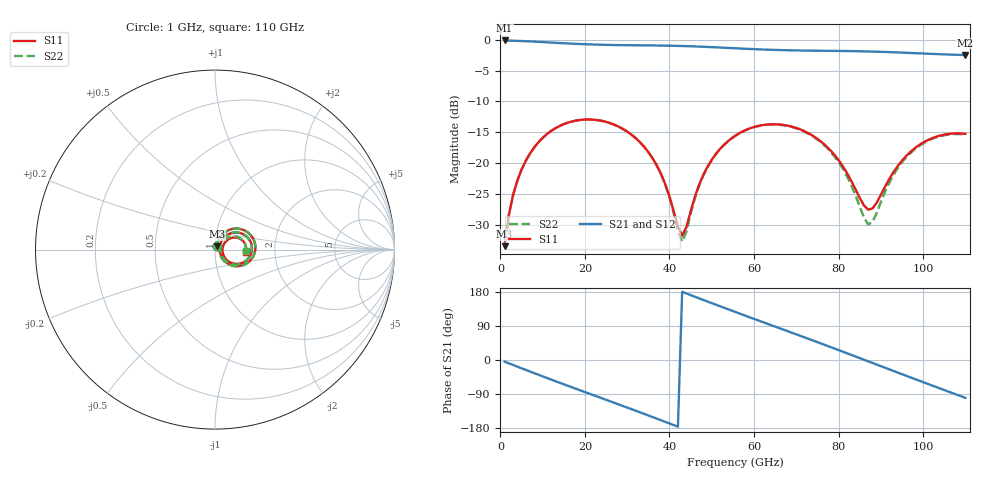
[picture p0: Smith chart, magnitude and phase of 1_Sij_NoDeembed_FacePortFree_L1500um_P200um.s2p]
! Touchstone file exported from HFSS 2024.2.0
!  File:  C:/Users/vaintrug/Documents/Ansoft_Workspace/Comparaison_Calculs_HFSS/1_VarPort.aedt
!  Generated:  03:22:16 PM Jan 21, 2025
!  Design:  1_NoDeembed_FacePortFree
!  Project:  1_VarPort
!  Setup:  Setup1
!  Solution:  Sweep
! Variables:
!  $Lenght = 1500um
!  $PortSize = 200um
!  Gap = 30um
!  Th = 2um
!  X_centralStrip = 20um
!  X_masse = 200um
!  Y_Sub = 1.5mm
!  Z_Box = 400um
!  Z_Sub = 200um
# GHz S MA R 50.000000
! Terminal data exported
! Port[1] = 1
! Port[2] = 2
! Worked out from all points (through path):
!   110 points, 1 GHz to 110 GHz, reference 50 ohm
!   highest |S21| = -0.10 dB at 1 GHz (marker M1); lowest = -2.5 dB at 110 GHz (marker M2)
!   group delay of S21, straight-line fit = 11.6 ps
!   lowest |S11| = -33.5 dB at 1 GHz (marker M3), VSWR 1.04, Z = 50.9 + j1.92 ohm
!   |S11| at or under -10 dB: start of sweep to end of sweep
!   |S22| runs from -33.5 to -12.9 dB; largest |S21 - S12| = 2e-15
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1  0.0211 63.0  0.9891 -4.4  0.9891 -4.4  0.0211 63.0
! Gamma 5.83249020542503 49.9500103290363 5.80716342082397 49.8956098899654
! Port Impedance 50 0 50 0
2  0.03779 69.8  0.9865 -8.8  0.9865 -8.8  0.03779 69.8
3  0.05481 70.0  0.984 -13.1  0.984 -13.1  0.05482 70.0
7  0.1193 58.5  0.9712 -30.4  0.9712 -30.4  0.1193 58.4
14  0.1996 31.3  0.9427 -59.9  0.9427 -59.9  0.1997 31.2
20  0.2254 8.1  0.922 -84.6  0.922 -84.6  0.2255 7.9
29  0.189 -25.1  0.9061 -121.4  0.9061 -121.4  0.1889 -25.6
34  0.1355 -41.5  0.9024 -142.2  0.9024 -142.2  0.1352 -42.5
38  0.08152 -49.9  0.899 -159.0  0.899 -159.0  0.08087 -51.7
43  0.02579 1.7  0.8915 179.8  0.8915 179.8  0.02298 1.4
47  0.06645 53.0  0.8819 162.8  0.8819 162.8  0.06528 55.2
49  0.09334 51.9  0.8761 154.3  0.8761 154.3  0.09247 53.5
56  0.1703 32.5  0.8531 125.0  0.8531 125.0  0.1697 33.0
65  0.2063 2.0  0.8285 88.1  0.8285 88.1  0.2054 1.6
74  0.1657 -27.1  0.817 51.2  0.817 51.2  0.1638 -28.8
81  0.09413 -41.4  0.8122 22.0  0.8122 22.0  0.09008 -45.9
87  0.04179 -5.9  0.8051 -3.5  0.8051 -3.5  0.03174 -6.4
88  0.04264 8.8  0.8034 -7.7  0.8034 -7.7  0.033 13.9
92  0.07414 36.9  0.7953 -24.7  0.7953 -24.7  0.06938 44.4
96  0.1141 35.0  0.7854 -41.6  0.7854 -41.6  0.1112 39.9
101  0.1528 22.9  0.7723 -62.6  0.7723 -62.6  0.1507 26.0
110  0.1725 -4.0  0.7528 -99.9  0.7528 -99.9  0.1702 -2.9
